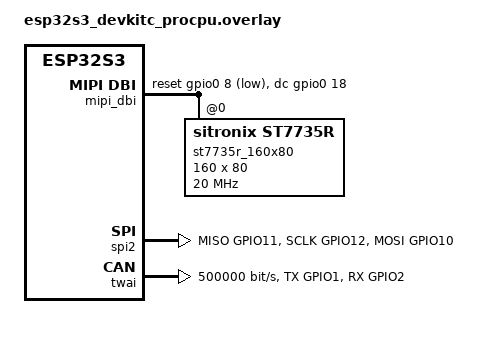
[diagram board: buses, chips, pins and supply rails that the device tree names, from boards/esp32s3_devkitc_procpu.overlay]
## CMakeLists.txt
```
cmake_minimum_required(VERSION 3.20.0)

find_package(Zephyr REQUIRED HINTS $ENV{ZEPHYR_BASE})
project(emm_prj_can)

target_sources(app PRIVATE src/main.c)
```

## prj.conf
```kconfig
CONFIG_SERIAL=y
CONFIG_CONSOLE=y
CONFIG_UART_CONSOLE=y
CONFIG_PRINTK=y
CONFIG_LOG=n

CONFIG_MAIN_STACK_SIZE=4096

CONFIG_GPIO=y
CONFIG_SPI=y
CONFIG_DISPLAY=y
CONFIG_LVGL=y
CONFIG_LV_CONF_MINIMAL=y
CONFIG_LV_USE_LABEL=y
CONFIG_LV_Z_MEM_POOL_SIZE=8192
CONFIG_LV_Z_BITS_PER_PIXEL=16
CONFIG_LV_COLOR_16_SWAP=y

CONFIG_CAN=y
```

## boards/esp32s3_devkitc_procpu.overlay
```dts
#include <zephyr/dt-bindings/mipi_dbi/mipi_dbi.h>
#include <zephyr/dt-bindings/pinctrl/esp-pinctrl-common.h>
#include <zephyr/dt-bindings/pinctrl/esp32s3-pinctrl.h>
#include <zephyr/dt-bindings/pinctrl/esp32s3-gpio-sigmap.h>

/ {
    chosen {
        zephyr,display = &st7735r_160x80;
    };

    aliases {
        can0 = &twai;
    };

    mipi_dbi {
        compatible = "zephyr,mipi-dbi-spi";
        spi-dev = <&spi2>;
        dc-gpios = <&gpio0 18 GPIO_ACTIVE_HIGH>;
        reset-gpios = <&gpio0 8 GPIO_ACTIVE_LOW>;
        #address-cells = <1>;
        #size-cells = <0>;

        st7735r_160x80: st7735r@0 {
            compatible = "sitronix,st7735r";
            reg = <0>;
            mipi-max-frequency = <20000000>;
            mipi-mode = "MIPI_DBI_MODE_SPI_4WIRE";
            width = <160>;
            height = <80>;
            inversion-on;
            rgb-is-inverted;
            x-offset = <1>;
            y-offset = <26>;
            pwctr1 = [A2 02 84];
            pwctr2 = [C5];
            pwctr3 = [0A 00];
            pwctr4 = [8A 2A];
            pwctr5 = [8A EE];
            invctr = <7>;
            frmctr1 = [01 2C 2D];
            frmctr2 = [01 2C 2D];
            frmctr3 = [01 2C 2D 01 2C 2D];
            vmctr1 = <14>;
            gamctrp1 = [02 1C 07 12 37 32 29 2D 29 25 2B 39 00 01 03 10];
            gamctrn1 = [03 1D 07 06 2E 2C 29 2D 2E 2E 37 3F 00 00 02 10];
            colmod = <5>;
            madctl = <184>;
            caset = [00 01 00 a0];
            raset = [00 1a 00 69];
        };
    };
};

&spi2 {
    status = "okay";
    pinctrl-0 = <&spi2_custom_pins>;
    pinctrl-names = "default";
    cs-gpios = <&gpio0 9 GPIO_ACTIVE_LOW>;
};

&twai {
    status = "okay";
    pinctrl-0 = <&twai_custom>;
    pinctrl-names = "default";
    bitrate = <500000>;
};

&pinctrl {
    spi2_custom_pins: spi2_custom_pins {
        group1 {
            pinmux = <SPIM2_MISO_GPIO11>, <SPIM2_SCLK_GPIO12>;
        };
        group2 {
            pinmux = <SPIM2_MOSI_GPIO10>;
            output-low;
        };
    };

    twai_custom: twai_custom {
        group1 {
            pinmux = <TWAI_TX_GPIO1>, <TWAI_RX_GPIO2>;
        };
    };
};
```

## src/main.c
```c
#include <zephyr/kernel.h>
#include <zephyr/device.h>
#include <zephyr/devicetree.h>
#include <zephyr/drivers/can.h>
#include <zephyr/drivers/display.h>
#include <lvgl.h>
#include <stdio.h>

K_MSGQ_DEFINE(can_msgq, sizeof(struct can_frame), 64, 4);

static struct can_frame latest_frame;
static struct k_mutex latest_lock;
static bool latest_valid;
static volatile uint32_t rx_count;

static lv_obj_t *frame_label;
static lv_obj_t *stats_label;

#define CAN_RX_STACK 2048
#define UI_STACK 4096

K_THREAD_STACK_DEFINE(can_rx_stack, CAN_RX_STACK);
K_THREAD_STACK_DEFINE(ui_stack, UI_STACK);

static struct k_thread can_rx_thread;
static struct k_thread ui_thread;

static void format_can_frame(char *out, size_t out_size, const struct can_frame *frame)
{
    int offset = snprintf(out, out_size, "ID:0x%03X DLC:%d\nDATA:", frame->id, frame->dlc);

    for (int i = 0; i < frame->dlc && (size_t)offset < out_size; i++) {
        offset += snprintf(out + offset, out_size - (size_t)offset, " %02X", frame->data[i]);
    }
}

static void can_rx_worker(void *a, void *b, void *c)
{
    ARG_UNUSED(a);
    ARG_UNUSED(b);
    ARG_UNUSED(c);

    while (true) {
        struct can_frame frame;

        if (k_msgq_get(&can_msgq, &frame, K_FOREVER) == 0) {
            rx_count++;
            k_mutex_lock(&latest_lock, K_FOREVER);
            latest_frame = frame;
            latest_valid = true;
            k_mutex_unlock(&latest_lock);
            printk("RX id=0x%X dlc=%d\n", frame.id, frame.dlc);
        }
    }
}

static void ui_worker(void *a, void *b, void *c)
{
    ARG_UNUSED(a);
    ARG_UNUSED(b);
    ARG_UNUSED(c);

    const struct device *display = DEVICE_DT_GET(DT_CHOSEN(zephyr_display));
    if (!device_is_ready(display)) {
        printk("ERROR: display not ready\n");
        return;
    }

    k_msleep(200);

    lv_obj_t *title_label = lv_label_create(lv_scr_act());
    lv_label_set_text(title_label, "Zephyr CAN Logger");
    lv_obj_align(title_label, LV_ALIGN_TOP_MID, 0, 2);

    frame_label = lv_label_create(lv_scr_act());
    lv_label_set_text(frame_label, "Waiting for CAN frames...");
    lv_obj_align(frame_label, LV_ALIGN_CENTER, 0, 0);
    lv_obj_set_width(frame_label, 155);
    lv_label_set_long_mode(frame_label, LV_LABEL_LONG_WRAP);

    stats_label = lv_label_create(lv_scr_act());
    lv_label_set_text(stats_label, "RX:0 FPS:0");
    lv_obj_align(stats_label, LV_ALIGN_BOTTOM_MID, 0, 0);

    display_blanking_off(display);

    uint32_t last_ms = k_uptime_get_32();
    uint32_t last_rx = 0;

    while (true) {
        struct can_frame frame;
        bool valid = false;

        k_mutex_lock(&latest_lock, K_FOREVER);
        if (latest_valid) {
            frame = latest_frame;
            valid = true;
        }
        k_mutex_unlock(&latest_lock);

        if (valid) {
            char line[128];
            format_can_frame(line, sizeof(line), &frame);
            lv_label_set_text(frame_label, line);
        }

        uint32_t now = k_uptime_get_32();
        if (now - last_ms >= 1000U) {
            uint32_t fps = rx_count - last_rx;
            last_rx = rx_count;
            last_ms = now;

            char stats[64];
            snprintf(stats, sizeof(stats), "RX:%u FPS:%u", (unsigned)rx_count, (unsigned)fps);
            lv_label_set_text(stats_label, stats);
        }

        lv_timer_handler();
        k_msleep(100);
    }
}

int main(void)
{
    k_mutex_init(&latest_lock);

    const struct device *can_dev = DEVICE_DT_GET(DT_ALIAS(can0));
    if (!device_is_ready(can_dev)) {
        printk("ERROR: CAN device not ready\n");
        return 0;
    }

    int err = can_start(can_dev);
    if (err) {
        printk("ERROR: can_start failed (%d)\n", err);
        return 0;
    }

    struct can_filter filter = {.flags = 0, .id = 0, .mask = 0};
    int filter_id = can_add_rx_filter_msgq(can_dev, &can_msgq, &filter);
    if (filter_id < 0) {
        printk("ERROR: can_add_rx_filter_msgq failed (%d)\n", filter_id);
        return 0;
    }

    k_thread_create(&can_rx_thread, can_rx_stack, CAN_RX_STACK, can_rx_worker, NULL, NULL, NULL, 2, 0, K_NO_WAIT);
    k_thread_create(&ui_thread, ui_stack, UI_STACK, ui_worker, NULL, NULL, NULL, 7, 0, K_NO_WAIT);

    while (true) {
        k_sleep(K_SECONDS(5));
    }

    return 0;
}
```
